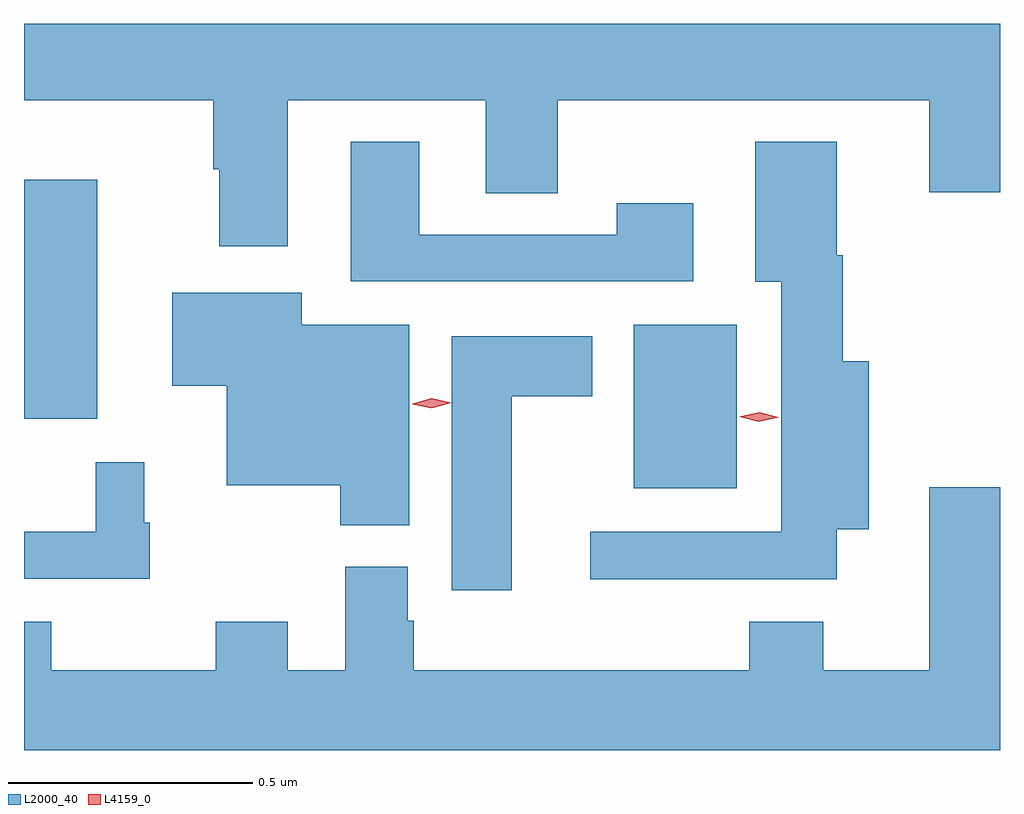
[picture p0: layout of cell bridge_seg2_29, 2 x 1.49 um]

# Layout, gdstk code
import gdstk
lib = gdstk.Library(unit=1e-6, precision=1e-09)
def R(c, l, rs):  # rectangles x0, y0, x1, y1
    for r in rs: c.add(gdstk.rectangle(r[:2], r[2:], *l))
def P(c, l, *ps):  # polygons
    for p in ps: c.add(gdstk.Polygon(p, *l))
L2000_40 = (2000, 40)
L4159_0 = (4159, 0)

bridge_seg2_29 = lib.new_cell('bridge_seg2_29')
R(bridge_seg2_29, L2000_40, [(667.898,640.181,668.11,640.516), (666.649,640.323,666.799,640.813)])
P(bridge_seg2_29, L2000_40, [(667.189,640.976),(667.595,640.976),(667.595,640.786),(667.743,640.786),(667.743,640.976),(668.504,640.976),(668.504,640.788),(668.649,640.788),(668.649,641.133),(666.649,641.133),(666.649,640.976),(667.037,640.976),(667.037,640.835),(667.049,640.835),(667.049,640.677),(667.189,640.677)],
  [(668.314,640.097),(668.38,640.097),(668.38,640.441),(668.327,640.441),(668.327,640.658),(668.314,640.658),(668.314,640.891),(668.147,640.891),(668.147,640.604),(668.201,640.604),(668.201,640.092),(667.809,640.092),(667.809,639.995),(668.314,639.995)],
  [(668.02,640.765),(667.864,640.765),(667.864,640.701),(667.459,640.701),(667.459,640.891),(667.319,640.891),(667.319,640.605),(668.02,640.605)],
  [(667.438,640.516),(667.218,640.516),(667.218,640.582),(666.953,640.582),(666.953,640.391),(667.064,640.391),(667.064,640.187),(667.297,640.187),(667.297,640.105),(667.438,640.105)],
  [(667.648,640.37),(667.813,640.37),(667.813,640.492),(667.526,640.492),(667.526,639.972),(667.648,639.972)],
  [(666.907,640.11),(666.895,640.11),(666.895,640.234),(666.796,640.234),(666.796,640.092),(666.649,640.092),(666.649,639.996),(666.907,639.996)],
  [(667.435,639.909),(667.435,640.02),(667.307,640.02),(667.307,639.808),(667.189,639.808),(667.189,639.907),(667.042,639.907),(667.042,639.808),(666.705,639.808),(666.705,639.907),(666.649,639.907),(666.649,639.644),(668.649,639.644),(668.649,640.183),(668.504,640.183),(668.504,639.808),(668.287,639.808),(668.287,639.907),(668.135,639.907),(668.135,639.808),(667.448,639.808),(667.448,639.909)])
P(bridge_seg2_29, L4159_0, [(668.155,640.317),(668.115,640.328),(668.115,640.328),(668.115,640.328),(668.156,640.337),(668.196,640.327),(668.196,640.327),(668.196,640.327)],
  [(667.485,640.345),(667.445,640.353),(667.445,640.354),(667.445,640.354),(667.485,640.365),(667.525,640.356),(667.525,640.356),(667.525,640.356)])

lib.write_gds('bridge_seg2_29.gds')
